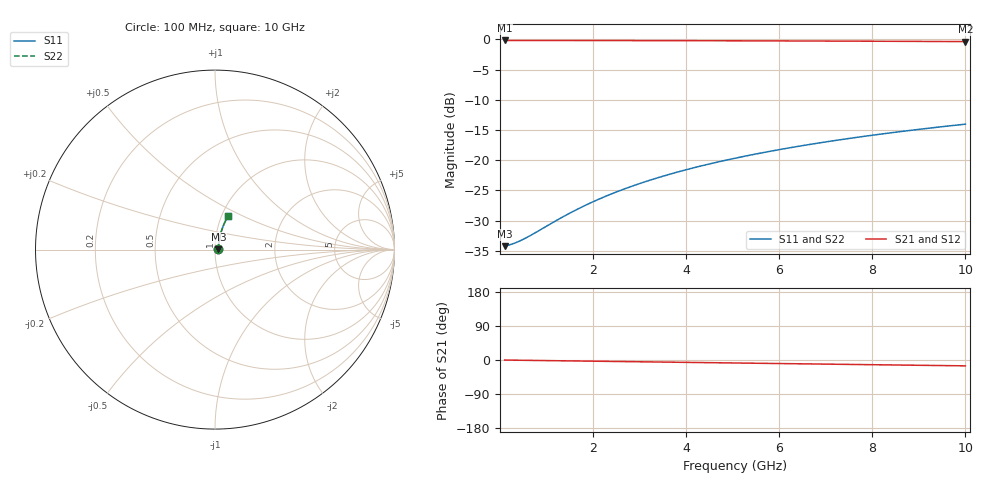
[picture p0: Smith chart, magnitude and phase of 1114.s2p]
# Hz S RI R 50.00
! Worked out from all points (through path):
!   100 points, 100 MHz to 10 GHz, reference 50 ohm
!   highest |S21| = -0.17 dB at 100 MHz (marker M1); lowest = -0.4 dB at 10 GHz (marker M2)
!   group delay of S21, straight-line fit = 4.29 ps
!   lowest |S11| = -34.2 dB at 100 MHz (marker M3), VSWR 1.04, Z = 52 + j0.206 ohm
!   |S11| at or under -10 dB: start of sweep to end of sweep
!   |S22| runs from -34.2 to -14.0 dB; largest |S21 - S12| = 0
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1e8  0.0193 0.00198  0.9807 -0.00268  0.9807 -0.00268  0.0193 0.00198
2e8  0.0194 0.00395  0.9806 -0.00536  0.9806 -0.00536  0.0194 0.00395
3e8  0.0196 0.00593  0.9804 -0.00804  0.9804 -0.00804  0.0196 0.00593
5e8  0.0198 0.00988  0.9802 -0.0134  0.9802 -0.0134  0.0198 0.00988
7e8  0.02 0.0138  0.98 -0.0187  0.98 -0.0187  0.02 0.0138
1.2e9  0.0207 0.0237  0.9792 -0.0321  0.9792 -0.0321  0.0207 0.0237
1.4e9  0.0211 0.0276  0.9789 -0.0374  0.9789 -0.0374  0.0211 0.0276
1.8e9  0.0219 0.0354  0.978 -0.0481  0.978 -0.0481  0.0219 0.0354
2.2e9  0.0228 0.0433  0.9771 -0.0587  0.9771 -0.0587  0.0228 0.0433
2.6e9  0.0239 0.0511  0.9759 -0.0693  0.9759 -0.0693  0.0239 0.0511
3e9  0.0252 0.0588  0.9746 -0.0799  0.9746 -0.0799  0.0252 0.0588
3.4e9  0.0266 0.0666  0.9731 -0.0904  0.9731 -0.0904  0.0266 0.0666
3.8e9  0.0282 0.0742  0.9714 -0.1009  0.9714 -0.1009  0.0282 0.0742
4.2e9  0.03 0.0819  0.9695 -0.1114  0.9695 -0.1114  0.03 0.0819
4.6e9  0.0319 0.0895  0.9675 -0.1218  0.9675 -0.1218  0.0319 0.0895
5.1e9  0.0345 0.0989  0.9648 -0.1347  0.9648 -0.1347  0.0345 0.0989
5.9e9  0.0392 0.1137  0.9599 -0.1552  0.9599 -0.1552  0.0392 0.1137
6.7e9  0.0445 0.1283  0.9543 -0.1755  0.9543 -0.1755  0.0445 0.1283
7.5e9  0.0505 0.1426  0.9481 -0.1954  0.9481 -0.1954  0.0505 0.1426
8.4e9  0.0578 0.1583  0.9404 -0.2174  0.9404 -0.2174  0.0578 0.1583
9.2e9  0.0649 0.1719  0.9329 -0.2367  0.9329 -0.2367  0.0649 0.1719
1e10  0.0725 0.185  0.9249 -0.2555  0.9249 -0.2555  0.0725 0.185
